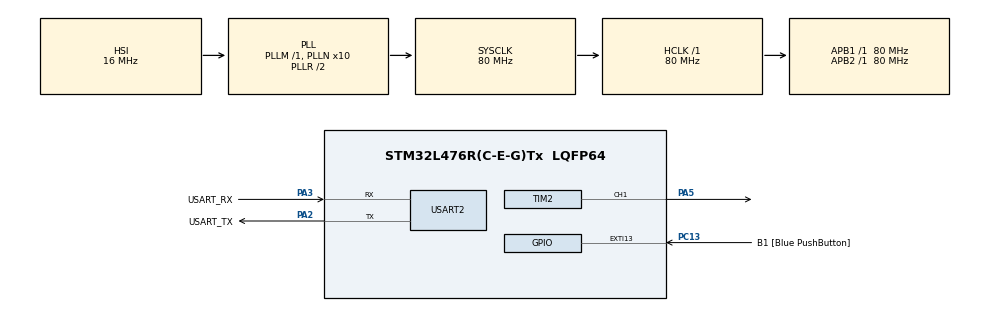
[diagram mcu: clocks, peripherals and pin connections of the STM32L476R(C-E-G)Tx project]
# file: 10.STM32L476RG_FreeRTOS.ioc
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FREERTOS.Tasks01=breath_led,0,128,Startbreathled,Default,NULL,Dynamic,NULL,NULL;readkey,0,128,Startreadkey,Default,NULL,Dynamic,NULL,NULL
Mcu.Family=STM32L4
Mcu.Name=STM32L476R(C-E-G)Tx
Mcu.Package=LQFP64
NVIC.PriorityGroup=NVIC_PRIORITYGROUP_4
NVIC.TIM7_IRQn=true\:0\:0\:false\:false\:true\:false\:false\:true
NVIC.TimeBase=TIM7_IRQn
NVIC.TimeBaseIP=TIM7
PA13\ (JTMS-SWDIO).GPIO_Label=TMS
PA13\ (JTMS-SWDIO).Mode=Serial_Wire
PA13\ (JTMS-SWDIO).Signal=SYS_JTMS-SWDIO
PA14\ (JTCK-SWCLK).GPIO_Label=TCK
PA14\ (JTCK-SWCLK).Mode=Serial_Wire
PA14\ (JTCK-SWCLK).Signal=SYS_JTCK-SWCLK
PA2.GPIO_Label=USART_TX
PA2.GPIO_Mode=GPIO_MODE_AF_PP
PA2.GPIO_PuPd=GPIO_NOPULL
PA2.GPIO_Speed=GPIO_SPEED_FREQ_VERY_HIGH
PA2.Mode=Asynchronous
PA2.Signal=USART2_TX
PA3.GPIO_Label=USART_RX
PA3.GPIO_Mode=GPIO_MODE_AF_PP
PA3.GPIO_PuPd=GPIO_NOPULL
PA3.GPIO_Speed=GPIO_SPEED_FREQ_VERY_HIGH
PA3.Mode=Asynchronous
PA3.Signal=USART2_RX
PA5.Signal=S_TIM2_CH1
PB3\ (JTDO-TRACESWO).GPIO_Label=SWO
PB3\ (JTDO-TRACESWO).Signal=SYS_JTDO-SWO
PC13.GPIO_Label=B1 [Blue PushButton]
PC13.GPIO_ModeDefaultEXTI=GPIO_MODE_IT_FALLING
PC13.GPIO_PuPd=GPIO_NOPULL
PC13.Signal=GPXTI13
PC14-OSC32_IN\ (PC14).Mode=LSE-External-Oscillator
PC14-OSC32_IN\ (PC14).Signal=RCC_OSC32_IN
PC15-OSC32_OUT\ (PC15).Mode=LSE-External-Oscillator
PC15-OSC32_OUT\ (PC15).Signal=RCC_OSC32_OUT
PH0-OSC_IN\ (PH0).Signal=RCC_OSC_IN
PH1-OSC_OUT\ (PH1).Signal=RCC_OSC_OUT
ProjectManager.HeapSize=0x200
ProjectManager.StackSize=0x400
ProjectManager.TargetToolchain=MDK-ARM V5.27
RCC.ADCFreq_Value=64000000
RCC.AHBFreq_Value=80000000
RCC.APB1Freq_Value=80000000
RCC.APB1TimFreq_Value=80000000
RCC.APB2Freq_Value=80000000
RCC.APB2TimFreq_Value=80000000
RCC.CortexFreq_Value=80000000
RCC.HCLKFreq_Value=80000000
RCC.HSE_VALUE=8000000
RCC.HSI_VALUE=16000000
RCC.MSI_VALUE=4000000
RCC.PLLN=10
RCC.PLLSourceVirtual=RCC_PLLSOURCE_HSI
RCC.PREFETCH_ENABLE=1
RCC.SYSCLKFreq_VALUE=80000000
RCC.SYSCLKSource=RCC_SYSCLKSOURCE_PLLCLK
RCC.USBFreq_Value=64000000
RCC.VCOOutputFreq_Value=160000000
SH.S_TIM2_CH1.0=TIM2_CH1,PWM Generation1 CH1
TIM2.Channel-PWM\ Generation1\ CH1=TIM_CHANNEL_1
TIM2.Period=1000-1
TIM2.Prescaler=80-1
USART2.VirtualMode-Asynchronous=VM_ASYNC
VP_FREERTOS_VS_CMSIS_V1.Mode=CMSIS_V1
VP_SYS_VS_tim7.Mode=TIM7
board=NUCLEO-L476RG

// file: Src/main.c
/* USER CODE BEGIN Header */
/**
  ******************************************************************************
  * @file           : main.c
  * @brief          : Main program body
  ******************************************************************************
  * @attention
  *
  * <h2><center>&copy; Copyright (c) 2020 STMicroelectronics.
  * All rights reserved.</center></h2>
  *
  * This software component is licensed by ST under Ultimate Liberty license
  * SLA0044, the "License"; You may not use this file except in compliance with
  * the License. You may obtain a copy of the License at:
  *                             www.st.com/SLA0044
  *
  ******************************************************************************
  */
/* USER CODE END Header */

#include "main.h"
#include "cmsis_os.h"
#include "tim.h"
#include "usart.h"
#include "gpio.h"

void SystemClock_Config(void);
void MX_FREERTOS_Init(void);

int main(void)
{

  /* MCU Configuration--------------------------------------------------------*/

  /* Reset of all peripherals, Initializes the Flash interface and the Systick. */
  HAL_Init();

  /* Configure the system clock */
  SystemClock_Config();

  /* Initialize all configured peripherals */
  MX_GPIO_Init();
  MX_TIM2_Init();
  MX_USART2_UART_Init();

  /* Call init function for freertos objects (in freertos.c) */
  MX_FREERTOS_Init();
  /* Start scheduler */
  osKernelStart();

  /* We should never get here as control is now taken by the scheduler */
  /* Infinite loop */
  while (1)
  {

  }
}

void SystemClock_Config(void)
{
  RCC_OscInitTypeDef RCC_OscInitStruct = {0};
  RCC_ClkInitTypeDef RCC_ClkInitStruct = {0};
  RCC_PeriphCLKInitTypeDef PeriphClkInit = {0};

  /** Initializes the CPU, AHB and APB busses clocks
  */
  RCC_OscInitStruct.OscillatorType = RCC_OSCILLATORTYPE_HSI;
  RCC_OscInitStruct.HSIState = RCC_HSI_ON;
  RCC_OscInitStruct.HSICalibrationValue = RCC_HSICALIBRATION_DEFAULT;
  RCC_OscInitStruct.PLL.PLLState = RCC_PLL_ON;
  RCC_OscInitStruct.PLL.PLLSource = RCC_PLLSOURCE_HSI;
  RCC_OscInitStruct.PLL.PLLM = 1;
  RCC_OscInitStruct.PLL.PLLN = 10;
  RCC_OscInitStruct.PLL.PLLP = RCC_PLLP_DIV7;
  RCC_OscInitStruct.PLL.PLLQ = RCC_PLLQ_DIV2;
  RCC_OscInitStruct.PLL.PLLR = RCC_PLLR_DIV2;
  if (HAL_RCC_OscConfig(&RCC_OscInitStruct) != HAL_OK)
  {
    Error_Handler();
  }
  /** Initializes the CPU, AHB and APB busses clocks
  */
  RCC_ClkInitStruct.ClockType = RCC_CLOCKTYPE_HCLK|RCC_CLOCKTYPE_SYSCLK
                              |RCC_CLOCKTYPE_PCLK1|RCC_CLOCKTYPE_PCLK2;
  RCC_ClkInitStruct.SYSCLKSource = RCC_SYSCLKSOURCE_PLLCLK;
  RCC_ClkInitStruct.AHBCLKDivider = RCC_SYSCLK_DIV1;
  RCC_ClkInitStruct.APB1CLKDivider = RCC_HCLK_DIV1;
  RCC_ClkInitStruct.APB2CLKDivider = RCC_HCLK_DIV1;

  if (HAL_RCC_ClockConfig(&RCC_ClkInitStruct, FLASH_LATENCY_4) != HAL_OK)
  {
    Error_Handler();
  }
  PeriphClkInit.PeriphClockSelection = RCC_PERIPHCLK_USART2;
  PeriphClkInit.Usart2ClockSelection = RCC_USART2CLKSOURCE_PCLK1;
  if (HAL_RCCEx_PeriphCLKConfig(&PeriphClkInit) != HAL_OK)
  {
    Error_Handler();
  }
  /** Configure the main internal regulator output voltage
  */
  if (HAL_PWREx_ControlVoltageScaling(PWR_REGULATOR_VOLTAGE_SCALE1) != HAL_OK)
  {
    Error_Handler();
  }
}

 /**
  * @brief  Period elapsed callback in non blocking mode
  * @note   This function is called  when TIM7 interrupt took place, inside
  * HAL_TIM_IRQHandler(). It makes a direct call to HAL_IncTick() to increment
  * a global variable "uwTick" used as application time base.
  * @param  htim : TIM handle
  * @retval None
  */
void HAL_TIM_PeriodElapsedCallback(TIM_HandleTypeDef *htim)
{
  if (htim->Instance == TIM7) {
    HAL_IncTick();
  }
}

void Error_Handler(void)
{
}

/************************ (C) COPYRIGHT STMicroelectronics *****END OF FILE****/

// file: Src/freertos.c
/* USER CODE BEGIN Header */
/**
  ******************************************************************************
  * File Name          : freertos.c
  * Description        : Code for freertos applications
  ******************************************************************************
  * @attention
  *
  * <h2><center>&copy; Copyright (c) 2020 STMicroelectronics.
  * All rights reserved.</center></h2>
  *
  * This software component is licensed by ST under Ultimate Liberty license
  * SLA0044, the "License"; You may not use this file except in compliance with
  * the License. You may obtain a copy of the License at:
  *                             www.st.com/SLA0044
  *
  ******************************************************************************
  */
/* USER CODE END Header */

#include "FreeRTOS.h"
#include "task.h"
#include "main.h"
#include "cmsis_os.h"

/* USER CODE BEGIN Includes */
#include "tim.h"
/* USER CODE END Includes */

/* USER CODE BEGIN Variables */
uint8_t Led_Status=0;
uint16_t dutyCycle=0;
/* USER CODE END Variables */
osThreadId breath_ledHandle;
osThreadId readkeyHandle;

void Startbreathled(void const * argument);
void Startreadkey(void const * argument);

void MX_FREERTOS_Init(void); /* (MISRA C 2004 rule 8.1) */

/* GetIdleTaskMemory prototype (linked to static allocation support) */
void vApplicationGetIdleTaskMemory( StaticTask_t **ppxIdleTaskTCBBuffer, StackType_t **ppxIdleTaskStackBuffer, uint32_t *pulIdleTaskStackSize );

/* USER CODE BEGIN GET_IDLE_TASK_MEMORY */
static StaticTask_t xIdleTaskTCBBuffer;
static StackType_t xIdleStack[configMINIMAL_STACK_SIZE];

void vApplicationGetIdleTaskMemory( StaticTask_t **ppxIdleTaskTCBBuffer, StackType_t **ppxIdleTaskStackBuffer, uint32_t *pulIdleTaskStackSize )
{
  *ppxIdleTaskTCBBuffer = &xIdleTaskTCBBuffer;
  *ppxIdleTaskStackBuffer = &xIdleStack[0];
  *pulIdleTaskStackSize = configMINIMAL_STACK_SIZE;
  /* place for user code */
}
/* USER CODE END GET_IDLE_TASK_MEMORY */

void MX_FREERTOS_Init(void) {

  /* Create the thread(s) */
  /* definition and creation of breath_led */
  osThreadDef(breath_led, Startbreathled, osPriorityNormal, 0, 128);
  breath_ledHandle = osThreadCreate(osThread(breath_led), NULL);

  /* definition and creation of readkey */
  osThreadDef(readkey, Startreadkey, osPriorityNormal, 0, 128);
  readkeyHandle = osThreadCreate(osThread(readkey), NULL);

}

void Startbreathled(void const * argument)
{
  /* USER CODE BEGIN Startbreathled */
	HAL_TIM_PWM_Start(&htim2, TIM_CHANNEL_1);
  /* Infinite loop */
  for(;;)
  {
		switch(Led_Status)
		{
			case 0:
				__HAL_TIM_SET_COMPARE(&htim2, TIM_CHANNEL_1, 1000);
				break;
			case 1:
				while (dutyCycle < 1000)
				{
					dutyCycle ++;
					__HAL_TIM_SET_COMPARE(&htim2, TIM_CHANNEL_1, dutyCycle);
					//TIM3->CCR2 = dutyCycle;
					osDelay(1);
				}
				while (dutyCycle)
				{
					dutyCycle --;
					__HAL_TIM_SET_COMPARE(&htim2, TIM_CHANNEL_1, dutyCycle);
					//TIM3->CCR2 = dutyCycle;
					osDelay(1);
				}
				break;
			case 2:
				__HAL_TIM_SET_COMPARE(&htim2, TIM_CHANNEL_1, 0);
				break;
			default:
				Led_Status=0;
		}
    osDelay(1);
  }
  /* USER CODE END Startbreathled */
}

void Startreadkey(void const * argument)
{
  /* USER CODE BEGIN Startreadkey */
  /* Infinite loop */
  for(;;)
  {
		if(HAL_GPIO_ReadPin(GPIOC, GPIO_PIN_13) == GPIO_PIN_SET)
		{
			osDelay(1);
			while(HAL_GPIO_ReadPin(GPIOC, GPIO_PIN_13) == GPIO_PIN_SET);	//Wait for the button PC13 to be released
			switch(Led_Status)
			{
				case 0:
					Led_Status++;
					break;
				case 1:
					Led_Status++;
					break;
				case 2:
					Led_Status=0;
					break;
				default:
					Led_Status=0;
			}
		}
    osDelay(10);
  }
  /* USER CODE END Startreadkey */
}

/************************ (C) COPYRIGHT STMicroelectronics *****END OF FILE****/
